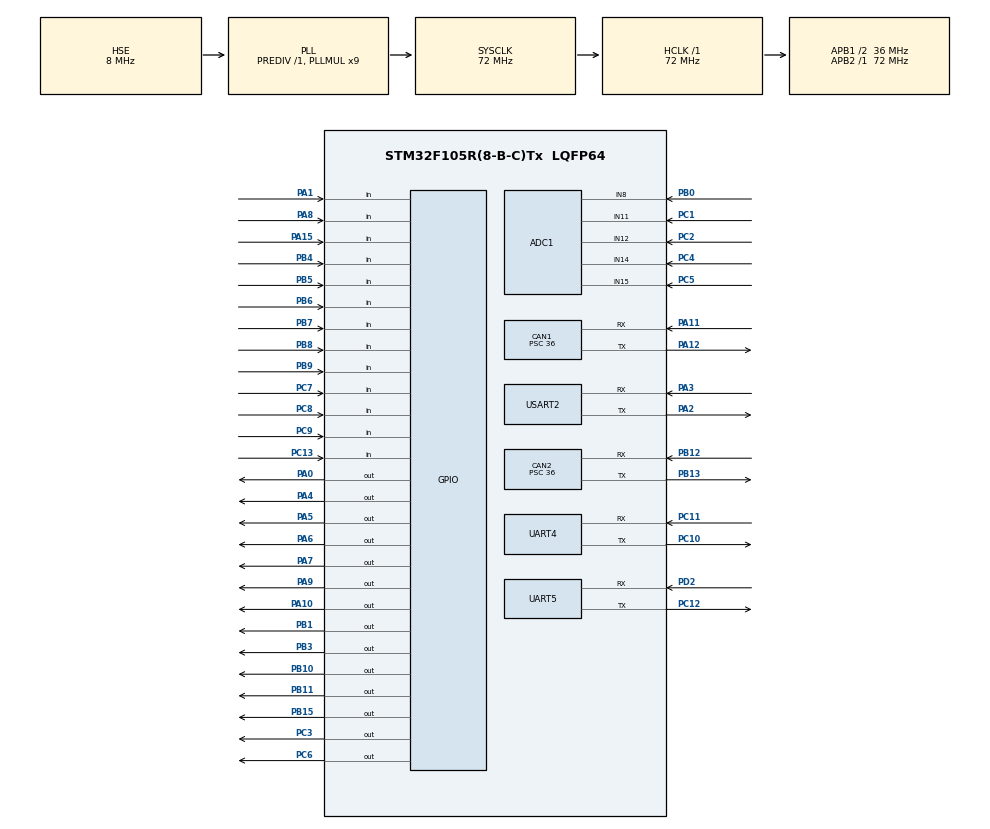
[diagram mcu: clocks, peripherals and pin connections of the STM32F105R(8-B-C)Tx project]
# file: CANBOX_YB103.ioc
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ADC1.Channel-0\#ChannelRegularConversion=ADC_CHANNEL_8
ADC1.Channel-1\#ChannelRegularConversion=ADC_CHANNEL_14
ADC1.Channel-2\#ChannelRegularConversion=ADC_CHANNEL_15
ADC1.Channel-3\#ChannelRegularConversion=ADC_CHANNEL_11
ADC1.Channel-4\#ChannelRegularConversion=ADC_CHANNEL_12
ADC1.ContinuousConvMode=DISABLE
ADC1.DiscontinuousConvMode=ENABLE
ADC1.NbrOfConversion=5
ADC1.NbrOfConversionFlag=1
ADC1.Rank-0\#ChannelRegularConversion=1
ADC1.Rank-1\#ChannelRegularConversion=2
ADC1.Rank-2\#ChannelRegularConversion=3
ADC1.Rank-3\#ChannelRegularConversion=4
ADC1.Rank-4\#ChannelRegularConversion=5
ADC1.SamplingTime-0\#ChannelRegularConversion=ADC_SAMPLETIME_1CYCLE_5
ADC1.SamplingTime-1\#ChannelRegularConversion=ADC_SAMPLETIME_1CYCLE_5
ADC1.SamplingTime-2\#ChannelRegularConversion=ADC_SAMPLETIME_1CYCLE_5
ADC1.SamplingTime-3\#ChannelRegularConversion=ADC_SAMPLETIME_1CYCLE_5
ADC1.SamplingTime-4\#ChannelRegularConversion=ADC_SAMPLETIME_1CYCLE_5
ADC1.master=1
CAN1.ABOM=ENABLE
CAN1.BS1=CAN_BS1_3TQ
CAN1.BS2=CAN_BS2_4TQ
CAN1.CalculateBaudRate=125000
CAN1.CalculateTimeBit=8000
CAN1.CalculateTimeQuantum=1000.0
CAN1.Prescaler=36
CAN2.ABOM=ENABLE
CAN2.BS1=CAN_BS1_3TQ
CAN2.BS2=CAN_BS2_4TQ
CAN2.CalculateBaudRate=125000
CAN2.CalculateTimeBit=8000
CAN2.CalculateTimeQuantum=1000.0
CAN2.Prescaler=36
Dma.MEMTOMEM.0.Direction=DMA_MEMORY_TO_MEMORY
Dma.MEMTOMEM.0.Instance=DMA2_Channel1
Dma.MEMTOMEM.0.MemDataAlignment=DMA_MDATAALIGN_BYTE
Dma.MEMTOMEM.0.MemInc=DMA_MINC_ENABLE
Dma.MEMTOMEM.0.Mode=DMA_NORMAL
Dma.MEMTOMEM.0.PeriphDataAlignment=DMA_PDATAALIGN_BYTE
Dma.MEMTOMEM.0.PeriphInc=DMA_PINC_ENABLE
Dma.MEMTOMEM.0.Priority=DMA_PRIORITY_LOW
Dma.Request0=MEMTOMEM
Dma.Request1=UART4_RX
Dma.Request2=UART4_TX
Dma.UART4_RX.1.Direction=DMA_PERIPH_TO_MEMORY
Dma.UART4_RX.1.Instance=DMA2_Channel3
Dma.UART4_RX.1.MemDataAlignment=DMA_MDATAALIGN_BYTE
Dma.UART4_RX.1.MemInc=DMA_MINC_ENABLE
Dma.UART4_RX.1.Mode=DMA_NORMAL
Dma.UART4_RX.1.PeriphDataAlignment=DMA_PDATAALIGN_BYTE
Dma.UART4_RX.1.PeriphInc=DMA_PINC_DISABLE
Dma.UART4_RX.1.Priority=DMA_PRIORITY_MEDIUM
Dma.UART4_TX.2.Direction=DMA_MEMORY_TO_PERIPH
Dma.UART4_TX.2.Instance=DMA2_Channel5
Dma.UART4_TX.2.MemDataAlignment=DMA_MDATAALIGN_BYTE
Dma.UART4_TX.2.MemInc=DMA_MINC_ENABLE
Dma.UART4_TX.2.Mode=DMA_NORMAL
Dma.UART4_TX.2.PeriphDataAlignment=DMA_PDATAALIGN_BYTE
Dma.UART4_TX.2.PeriphInc=DMA_PINC_DISABLE
Dma.UART4_TX.2.Priority=DMA_PRIORITY_MEDIUM
FREERTOS.Tasks01=defaultTask,0,128,StartDefaultTask,Default,NULL,Dynamic,NULL,NULL
FREERTOS.configCHECK_FOR_STACK_OVERFLOW=1
FREERTOS.configTOTAL_HEAP_SIZE=10240
FREERTOS.configUSE_MALLOC_FAILED_HOOK=1
FREERTOS.configUSE_STATS_FORMATTING_FUNCTIONS=1
FREERTOS.configUSE_TICK_HOOK=1
FREERTOS.configUSE_TRACE_FACILITY=1
Mcu.Family=STM32F1
Mcu.Name=STM32F105R(8-B-C)Tx
Mcu.Package=LQFP64
NVIC.CAN1_RX0_IRQn=true\:5\:0\:true\:false\:true\:true\:true\:true\:true
NVIC.CAN2_RX0_IRQn=true\:5\:0\:true\:false\:true\:true\:true\:true\:true
NVIC.DMA2_Channel3_IRQn=true\:5\:0\:false\:false\:true\:true\:false\:true\:true
NVIC.DMA2_Channel5_IRQn=true\:5\:0\:false\:false\:true\:true\:false\:true\:true
NVIC.PriorityGroup=NVIC_PRIORITYGROUP_4
NVIC.UART4_IRQn=true\:5\:0\:false\:false\:true\:true\:true\:true\:true
PA0-WKUP.GPIO_PuPd=GPIO_PULLUP
PA0-WKUP.GPIO_Speed=GPIO_SPEED_FREQ_HIGH
PA0-WKUP.PinState=GPIO_PIN_SET
PA0-WKUP.Signal=GPIO_Output
PA1.GPIO_PuPd=GPIO_PULLUP
PA1.Signal=GPIO_Input
PA10.GPIO_PuPd=GPIO_PULLUP
PA10.GPIO_Speed=GPIO_SPEED_FREQ_HIGH
PA10.Signal=GPIO_Output
PA11.Mode=CAN_Activate
PA11.Signal=CAN1_RX
PA12.Mode=CAN_Activate
PA12.Signal=CAN1_TX
PA15.GPIO_PuPd=GPIO_PULLUP
PA15.Signal=GPIO_Input
PA2.Mode=LIN
PA2.Signal=USART2_TX
PA3.Mode=LIN
PA3.Signal=USART2_RX
PA4.GPIO_PuPd=GPIO_PULLUP
PA4.GPIO_Speed=GPIO_SPEED_FREQ_HIGH
PA4.PinState=GPIO_PIN_SET
PA4.Signal=GPIO_Output
PA5.GPIO_PuPd=GPIO_PULLUP
PA5.GPIO_Speed=GPIO_SPEED_FREQ_HIGH
PA5.PinState=GPIO_PIN_SET
PA5.Signal=GPIO_Output
PA6.GPIO_PuPd=GPIO_PULLUP
PA6.GPIO_Speed=GPIO_SPEED_FREQ_HIGH
PA6.PinState=GPIO_PIN_SET
PA6.Signal=GPIO_Output
PA7.GPIO_PuPd=GPIO_PULLUP
PA7.GPIO_Speed=GPIO_SPEED_FREQ_HIGH
PA7.PinState=GPIO_PIN_SET
PA7.Signal=GPIO_Output
PA8.GPIO_PuPd=GPIO_PULLUP
PA8.Signal=GPIO_Input
PA9.GPIO_PuPd=GPIO_PULLUP
PA9.GPIO_Speed=GPIO_SPEED_FREQ_HIGH
PA9.Signal=GPIO_Output
PB0.Signal=ADCx_IN8
PB1.GPIO_PuPd=GPIO_PULLUP
PB1.GPIO_Speed=GPIO_SPEED_FREQ_HIGH
PB1.Signal=GPIO_Output
PB10.GPIO_PuPd=GPIO_PULLUP
PB10.GPIO_Speed=GPIO_SPEED_FREQ_HIGH
PB10.PinState=GPIO_PIN_SET
PB10.Signal=GPIO_Output
PB11.GPIO_PuPd=GPIO_PULLUP
PB11.GPIO_Speed=GPIO_SPEED_FREQ_HIGH
PB11.PinState=GPIO_PIN_SET
PB11.Signal=GPIO_Output
PB12.Mode=CAN_Activate
PB12.Signal=CAN2_RX
PB13.Mode=CAN_Activate
PB13.Signal=CAN2_TX
PB15.GPIO_PuPd=GPIO_PULLUP
PB15.GPIO_Speed=GPIO_SPEED_FREQ_HIGH
PB15.PinState=GPIO_PIN_SET
PB15.Signal=GPIO_Output
PB3.GPIO_PuPd=GPIO_PULLUP
PB3.GPIO_Speed=GPIO_SPEED_FREQ_HIGH
PB3.Signal=GPIO_Output
PB4.GPIO_PuPd=GPIO_PULLUP
PB4.Signal=GPIO_Input
PB5.GPIO_PuPd=GPIO_PULLUP
PB5.Signal=GPIO_Input
PB6.GPIO_PuPd=GPIO_PULLUP
PB6.Signal=GPIO_Input
PB7.GPIO_PuPd=GPIO_PULLUP
PB7.Signal=GPIO_Input
PB8.GPIO_PuPd=GPIO_PULLUP
PB8.Signal=GPIO_Input
PB9.GPIO_PuPd=GPIO_PULLUP
PB9.Signal=GPIO_Input
PC1.Signal=ADCx_IN11
PC10.Mode=Asynchronous
PC10.Signal=UART4_TX
PC11.Mode=Asynchronous
PC11.Signal=UART4_RX
PC12.Mode=Asynchronous
PC12.Signal=UART5_TX
PC13-TAMPER-RTC.GPIO_PuPd=GPIO_PULLUP
PC13-TAMPER-RTC.Signal=GPIO_Input
PC2.Signal=ADCx_IN12
PC3.GPIO_PuPd=GPIO_PULLUP
PC3.GPIO_Speed=GPIO_SPEED_FREQ_HIGH
PC3.PinState=GPIO_PIN_SET
PC3.Signal=GPIO_Output
PC4.Signal=ADCx_IN14
PC5.Signal=ADCx_IN15
PC6.GPIO_PuPd=GPIO_PULLUP
PC6.GPIO_Speed=GPIO_SPEED_FREQ_HIGH
PC6.PinState=GPIO_PIN_SET
PC6.Signal=GPIO_Output
PC7.GPIO_PuPd=GPIO_PULLUP
PC7.Signal=GPIO_Input
PC8.GPIO_PuPd=GPIO_PULLUP
PC8.Signal=GPIO_Input
PC9.GPIO_PuPd=GPIO_PULLUP
PC9.Signal=GPIO_Input
PD0-OSC_IN.Mode=HSE-External-Oscillator
PD0-OSC_IN.Signal=RCC_OSC_IN
PD1-OSC_OUT.Mode=HSE-External-Oscillator
PD1-OSC_OUT.Signal=RCC_OSC_OUT
PD2.Mode=Asynchronous
PD2.Signal=UART5_RX
ProjectManager.HeapSize=0x200
ProjectManager.StackSize=0x400
ProjectManager.TargetToolchain=STM32CubeIDE
RCC.ADCPresc=RCC_ADCPCLK2_DIV6
RCC.AHBFreq_Value=72000000
RCC.APB1CLKDivider=RCC_HCLK_DIV2
RCC.APB1Freq_Value=36000000
RCC.APB1TimFreq_Value=72000000
RCC.APB2Freq_Value=72000000
RCC.APB2TimFreq_Value=72000000
RCC.HCLKFreq_Value=72000000
RCC.PLLMUL=RCC_PLL_MUL9
RCC.PLLSourceVirtual=RCC_PLLSOURCE_HSE
RCC.SYSCLKFreq_VALUE=72000000
RCC.SYSCLKSource=RCC_SYSCLKSOURCE_PLLCLK
RCC.USBFreq_Value=48000000
SH.ADCx_IN11.0=ADC1_IN11,IN11
SH.ADCx_IN12.0=ADC1_IN12,IN12
SH.ADCx_IN14.0=ADC1_IN14,IN14
SH.ADCx_IN15.0=ADC1_IN15,IN15
SH.ADCx_IN8.0=ADC1_IN8,IN8
UART4.VirtualMode=Asynchronous
UART5.VirtualMode=Asynchronous
USART2.VirtualMode=VM_ASYNC
VP_FREERTOS_VS_CMSIS_V1.Mode=CMSIS_V1
VP_SYS_VS_ND.Mode=No_Debug
board=custom

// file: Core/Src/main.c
/* USER CODE BEGIN Header */
/**
  ******************************************************************************
  * @file           : main.c
  * @brief          : Main program body
  ******************************************************************************
  * @attention
  *
  * Copyright (c) 2025 STMicroelectronics.
  * All rights reserved.
  *
  * This software is licensed under terms that can be found in the LICENSE file
  * in the root directory of this software component.
  * If no LICENSE file comes with this software, it is provided AS-IS.
  *
  ******************************************************************************
  */
/* USER CODE END Header */
#include "main.h"
#include "cmsis_os.h"
#include "adc.h"
#include "can.h"
#include "dma.h"
#include "usart.h"
#include "gpio.h"

/* USER CODE BEGIN Includes */
#include "dbc_can_core.h"
#include "stdio.h"
#include "lcd.h"
#include "Service_CanComm_ccl.h"
/* USER CODE END Includes */

void SystemClock_Config(void);
void MX_FREERTOS_Init(void);

/* USER CODE BEGIN 0 */
#define PUTCHAR_PROTOTYPE int __io_putchar(int ch)

PUTCHAR_PROTOTYPE
{
    HAL_UART_Transmit(&huart4 , (uint8_t *)&ch, 1, 0xFFFF);
    return ch;
}

uint8_t  usart4_rx_buffer_data[256];
/* USER CODE END 0 */

int main(void)
{

  /* MCU Configuration--------------------------------------------------------*/

  /* Reset of all peripherals, Initializes the Flash interface and the Systick. */
  HAL_Init();

  /* Configure the system clock */
  SystemClock_Config();

  /* Initialize all configured peripherals */
  MX_GPIO_Init();
  MX_DMA_Init();
  MX_ADC1_Init();
  MX_CAN1_Init();
  MX_CAN2_Init();
  MX_UART4_Init();
  MX_UART5_Init();
  MX_USART2_UART_Init();
  /* USER CODE BEGIN 2 */

  App_Init(); //DBC CAN
  lcd128_Init(); //LCD
  __HAL_UART_ENABLE_IT(&huart4, UART_IT_IDLE); //ʹ��IDLE�ж�
  HAL_UART_Receive_DMA(&huart4, usart4_rx_buffer_data, 256);
  printf("Enter\r\n");
  CanCcl_vPoweronInit(); //CAN

  /* USER CODE END 2 */

  /* Call init function for freertos objects (in cmsis_os2.c) */
  MX_FREERTOS_Init();

  /* Start scheduler */
  osKernelStart();

  /* We should never get here as control is now taken by the scheduler */

  /* Infinite loop */
  while (1)
  {

  }
}

void SystemClock_Config(void)
{
  RCC_OscInitTypeDef RCC_OscInitStruct = {0};
  RCC_ClkInitTypeDef RCC_ClkInitStruct = {0};
  RCC_PeriphCLKInitTypeDef PeriphClkInit = {0};

  /** Initializes the RCC Oscillators according to the specified parameters
  * in the RCC_OscInitTypeDef structure.
  */
  RCC_OscInitStruct.OscillatorType = RCC_OSCILLATORTYPE_HSE;
  RCC_OscInitStruct.HSEState = RCC_HSE_ON;
  RCC_OscInitStruct.HSEPredivValue = RCC_HSE_PREDIV_DIV1;
  RCC_OscInitStruct.HSIState = RCC_HSI_ON;
  RCC_OscInitStruct.Prediv1Source = RCC_PREDIV1_SOURCE_HSE;
  RCC_OscInitStruct.PLL.PLLState = RCC_PLL_ON;
  RCC_OscInitStruct.PLL.PLLSource = RCC_PLLSOURCE_HSE;
  RCC_OscInitStruct.PLL.PLLMUL = RCC_PLL_MUL9;
  RCC_OscInitStruct.PLL2.PLL2State = RCC_PLL_NONE;
  if (HAL_RCC_OscConfig(&RCC_OscInitStruct) != HAL_OK)
  {
    Error_Handler();
  }

  /** Initializes the CPU, AHB and APB buses clocks
  */
  RCC_ClkInitStruct.ClockType = RCC_CLOCKTYPE_HCLK|RCC_CLOCKTYPE_SYSCLK
                              |RCC_CLOCKTYPE_PCLK1|RCC_CLOCKTYPE_PCLK2;
  RCC_ClkInitStruct.SYSCLKSource = RCC_SYSCLKSOURCE_PLLCLK;
  RCC_ClkInitStruct.AHBCLKDivider = RCC_SYSCLK_DIV1;
  RCC_ClkInitStruct.APB1CLKDivider = RCC_HCLK_DIV2;
  RCC_ClkInitStruct.APB2CLKDivider = RCC_HCLK_DIV1;

  if (HAL_RCC_ClockConfig(&RCC_ClkInitStruct, FLASH_LATENCY_2) != HAL_OK)
  {
    Error_Handler();
  }
  PeriphClkInit.PeriphClockSelection = RCC_PERIPHCLK_ADC;
  PeriphClkInit.AdcClockSelection = RCC_ADCPCLK2_DIV6;
  if (HAL_RCCEx_PeriphCLKConfig(&PeriphClkInit) != HAL_OK)
  {
    Error_Handler();
  }

  /** Configure the Systick interrupt time
  */
  __HAL_RCC_PLLI2S_ENABLE();
}

void Error_Handler(void)
{
  __disable_irq();
  while (1)
  {
  }
}

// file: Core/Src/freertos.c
/* USER CODE BEGIN Header */
/**
  ******************************************************************************
  * File Name          : freertos.c
  * Description        : Code for freertos applications
  ******************************************************************************
  * @attention
  *
  * Copyright (c) 2025 STMicroelectronics.
  * All rights reserved.
  *
  * This software is licensed under terms that can be found in the LICENSE file
  * in the root directory of this software component.
  * If no LICENSE file comes with this software, it is provided AS-IS.
  *
  ******************************************************************************
  */
/* USER CODE END Header */

#include "FreeRTOS.h"
#include "task.h"
#include "main.h"
#include "cmsis_os.h"

/* USER CODE BEGIN Includes */
#include "usart.h"
#include "UserTimer.h"
#include "can.h"
#include "adc_app.h"
// #include "key_app.h"
#include "key.h"
#include "lcd.h"
#include "config.h"
#include "dbc_can_core.h"
/* USER CODE END Includes */

/* USER CODE BEGIN Variables */
osThreadId canreceivefunctionHandle;
osThreadId heartbeattaskHandle;
osThreadId task0Handle;
osThreadId task1Handle;
osThreadId task2Handle;
osThreadId task3Handle;
osThreadId CanTransmitHandle;
osThreadId LinTransmitHandle;

/* USER CODE END Variables */
osThreadId defaultTaskHandle;

/* USER CODE BEGIN FunctionPrototypes */
void CanReceiveFunction(void const * argument);
void heartbeat_task(void const * argument);
void task0_task(void const * argument);
void task1_task(void const * argument);
void task2_task(void const * argument);
void task3_task(void const * argument);
void Lin_Flow_task(void const *pvParameters);
/* USER CODE END FunctionPrototypes */

void StartDefaultTask(void const * argument);

void MX_FREERTOS_Init(void); /* (MISRA C 2004 rule 8.1) */

/* GetIdleTaskMemory prototype (linked to static allocation support) */
void vApplicationGetIdleTaskMemory( StaticTask_t **ppxIdleTaskTCBBuffer, StackType_t **ppxIdleTaskStackBuffer, uint32_t *pulIdleTaskStackSize );

/* Hook prototypes */
void vApplicationTickHook(void);
void vApplicationStackOverflowHook(xTaskHandle xTask, signed char *pcTaskName);
void vApplicationMallocFailedHook(void);

/* USER CODE BEGIN 3 */
__weak void vApplicationTickHook( void )
{
   /* This function will be called by each tick interrupt if
   configUSE_TICK_HOOK is set to 1 in FreeRTOSConfig.h. User code can be
   added here, but the tick hook is called from an interrupt context, so
   code must not attempt to block, and only the interrupt safe FreeRTOS API
   functions can be used (those that end in FromISR()). */
}
/* USER CODE END 3 */

/* USER CODE BEGIN 4 */
__weak void vApplicationStackOverflowHook(xTaskHandle xTask, signed char *pcTaskName)
{
   /* Run time stack overflow checking is performed if
   configCHECK_FOR_STACK_OVERFLOW is defined to 1 or 2. This hook function is
   called if a stack overflow is detected. */
}
/* USER CODE END 4 */

/* USER CODE BEGIN 5 */
__weak void vApplicationMallocFailedHook(void)
{
   /* vApplicationMallocFailedHook() will only be called if
   configUSE_MALLOC_FAILED_HOOK is set to 1 in FreeRTOSConfig.h. It is a hook
   function that will get called if a call to pvPortMalloc() fails.
   pvPortMalloc() is called internally by the kernel whenever a task, queue,
   timer or semaphore is created. It is also called by various parts of the
   demo application. If heap_1.c or heap_2.c are used, then the size of the
   heap available to pvPortMalloc() is defined by configTOTAL_HEAP_SIZE in
   FreeRTOSConfig.h, and the xPortGetFreeHeapSize() API function can be used
   to query the size of free heap space that remains (although it does not
   provide information on how the remaining heap might be fragmented). */
}
/* USER CODE END 5 */

/* USER CODE BEGIN GET_IDLE_TASK_MEMORY */
static StaticTask_t xIdleTaskTCBBuffer;
static StackType_t xIdleStack[configMINIMAL_STACK_SIZE];

void vApplicationGetIdleTaskMemory( StaticTask_t **ppxIdleTaskTCBBuffer, StackType_t **ppxIdleTaskStackBuffer, uint32_t *pulIdleTaskStackSize )
{
  *ppxIdleTaskTCBBuffer = &xIdleTaskTCBBuffer;
  *ppxIdleTaskStackBuffer = &xIdleStack[0];
  *pulIdleTaskStackSize = configMINIMAL_STACK_SIZE;
  /* place for user code */
}
/* USER CODE END GET_IDLE_TASK_MEMORY */

void MX_FREERTOS_Init(void) {

  /* Create the thread(s) */
  /* definition and creation of defaultTask */
  osThreadDef(defaultTask, StartDefaultTask, osPriorityNormal, 0, 128);
  defaultTaskHandle = osThreadCreate(osThread(defaultTask), NULL);

  /* USER CODE BEGIN RTOS_THREADS */
  /* add threads, ... */
  osThreadDef(heartbeattask, heartbeat_task, osPriorityIdle, 0, 128);
  heartbeattaskHandle = osThreadCreate(osThread(heartbeattask), NULL);

  osThreadDef(task0task, task0_task, osPriorityIdle, 0, 128);
  task0Handle = osThreadCreate(osThread(task0task), NULL);

  osThreadDef(task1task, task1_task, osPriorityIdle, 0, 128);
  task1Handle = osThreadCreate(osThread(task1task), NULL);

  osThreadDef(task2task, task2_task, osPriorityIdle, 0, 128);
  task2Handle = osThreadCreate(osThread(task2task), NULL);

  osThreadDef(task3task, task3_task, osPriorityIdle, 0, 128);
  task3Handle = osThreadCreate(osThread(task3task), NULL);

  osThreadDef(cantransmittask, CanTransmitFunction, osPriorityIdle, 0, 128);
  CanTransmitHandle = osThreadCreate(osThread(cantransmittask), NULL);

  #if SPS250_LIN
  osThreadDef(lintransmittask, Lin_Flow_task, osPriorityIdle, 0, 128);
  LinTransmitHandle = osThreadCreate(osThread(lintransmittask), NULL);
  #endif
  /* USER CODE END RTOS_THREADS */

}

void StartDefaultTask(void const * argument)
{
  /* USER CODE BEGIN StartDefaultTask */
  /* Infinite loop */
  for(;;)
  {
    osDelay(1000);
  }
  /* USER CODE END StartDefaultTask */
}

/* USER CODE BEGIN Application */
void heartbeat_task(void const * argument)
{
  /* USER CODE BEGIN heartbeat_task */
    UserTimer_Initial();
    printf("heartbeat_task\r\n");
  /* Infinite loop */
  for(;;)
  {
      UserTimer_Handler();
  }
  /* USER CODE END heartbeat_task */
}

/* USER CODE BEGIN Header_can_task */
/**
* @brief Function implementing the cantask thread.
* @param argument: Not used
* @retval None
*/
/* USER CODE END Header_can_task */
void task0_task(void const * argument)
{
    (void)*argument;
    for(;;)
    {
        vTaskDelay(pdMS_TO_TICKS(1));
    }
}

/* USER CODE BEGIN Header_gpio_task */
/**
* @brief Function implementing the gpiotask thread.
* @param argument: Not used
* @retval None
*/
/* USER CODE END Header_gpio_task */
void task1_task(void const * argument)
{
    (void)*argument;
    for(;;)
    {
			//printf("task1\r\n");
        ADC_SamplingProcess();
        vTaskDelay(pdMS_TO_TICKS(5));
    }
}

/* USER CODE BEGIN Header_button_task */
/**
* @brief Function implementing the buttontask thread.
* @param argument: Not used
* @retval None
*/
/* USER CODE END Header_button_task */
void task2_task(void const * argument)
{
    (void)*argument;
    static uint8_t cnt;
    static uint8_t LeftTurnLightSts_last = 0;
    static uint8_t LeftTurnLightSts_now = 1;
    uint8_t Hz125_flag = 0;
    for(;;)
    {
//    	cnt++;
//    	if(GetF14Value(BCM_LeftTurnLightSts) == 1){
//    		Hz125_flag = 1;
//    	}
//    	else{
//    		Hz125_flag = 0;
//    	}
//
//    	if(Hz125_flag == 1 && cnt >= 80){
//    		LeftTurnLightSts_now = LeftTurnLightSts_last == 0 ? 1 : 0;
//    		LeftTurnLightSts_last = LeftTurnLightSts_now;
//    	    CanTx_SigSet_0x360_BCM_LeftTurnLightSts(LeftTurnLightSts_now);
//    	    CanIl_SendEventMsg(CanMsg_BCM_1);
//    	    cnt = 0;
//    	    Hz125_flag = 0;
//    	}
//    	else if(Hz125_flag == 0 && cnt >= 10){
//    		CanTx_SigSet_0x360_BCM_LeftTurnLightSts(GetF14Value(BCM_LeftTurnLightSts));
//    		CanIl_SendEventMsg(CanMsg_BCM_1);
//    		cnt = 0;
//    		Hz125_flag = 0;
//    	}

        Key_CheckProcess();
        if(now_page == 0){
			if (key_menu_cnt != GetPage0MenuIndex() ||
				key_item_cnt != GetPage0ItemIndex() ||
				key_value_cnt != GetPage0ItemValue(GetPage0MenuIndex(), GetPage0ItemIndex(), 0)) {
				SavePage0ItemValue(key_menu_cnt,key_item_cnt,key_value_cnt);
			}
        }
        else{
			if (key_menu_cnt != GetPage1MenuIndex() ||
				key_item_cnt != GetPage1ItemIndex() ||
				key_value_cnt != GetPage1ItemValue(GetPage1MenuIndex(), GetPage1ItemIndex(), 0)) {
				SavePage1ItemValue(key_menu_cnt,key_item_cnt,key_value_cnt);
			}
        }
        vTaskDelay(pdMS_TO_TICKS(10));
    }
}

/* USER CODE BEGIN Header_menu_task */
/**
* @brief Function implementing the menutask thread.
* @param argument: Not used
* @retval None
*/
/* USER CODE END Header_menu_task */
extern uint8_t Can_Send_Sts;

void task3_task(void const * argument)
{
    (void)*argument;
    static uint8_t s_menu = MENU_UNDEFINE;
    static uint8_t s_item = ITEM_DEFAULT;
    static uint16_t s_value = VALUE_DEFAULT;
    static uint8_t Last_CAN_SendSts = E_CANSEND_OPEN;
    uint8_t v_menu = 0;
    uint8_t v_item = 0;
    int16_t v_value = 0;
    for(;;)
    {
		//printf("task3\r\n");
    	if(now_page == 0){
            v_menu = GetPage0MenuIndex();
            v_item = GetPage0ItemIndex();
            v_value = GetPage0ItemValue(v_menu, v_item, 0);
    	}
    	else{
    		v_menu = GetPage1MenuIndex();
            v_item = GetPage1ItemIndex();
            v_value = GetPage1ItemValue(v_menu, v_item, 0);
    	}

        if(Can_Send_Sts == E_CANSEND_OPEN)
        {
            if(Last_CAN_SendSts != Can_Send_Sts)
            {
                Last_CAN_SendSts = Can_Send_Sts;
            }
            if (v_menu != s_menu || v_item != s_item || v_value != s_value || switch_flag == 1) {
            	if(now_page == 0){
                	if (LCD_Page0Menu_Display(v_menu, v_item, v_value) == DISPLAY_SUCCESS) {
                        s_menu = v_menu;
                        s_item = v_item;
                        s_value = v_value;
                    }
            	}
            	else{
                	if (LCD_Page1Menu_Display(v_menu, v_item, v_value) == DISPLAY_SUCCESS) {
                        s_menu = v_menu;
                        s_item = v_item;
                        s_value = v_value;
                    }
            	}
            	switch_flag = 0;
            }
        }
        else
        {
            if(Last_CAN_SendSts != Can_Send_Sts)
            {
                Last_CAN_SendSts = Can_Send_Sts;
                LCD_Show_CANSendClose();
                s_menu = 0xFF;
                s_item = 0xFF;
                s_value = 0xFFFF;
            }
        }

        vTaskDelay(pdMS_TO_TICKS(20));
    }
}

/* Private application code --------------------------------------------------*/
/* USER CODE BEGIN Application */
QueueHandle_t ReceiveQueue;

void CanReceiveFunction(void const * argument)
{
    CanMsg_t RxMessageObject;

    ReceiveQueue = xQueueCreate(4,sizeof(CanMsg_t));
    if(ReceiveQueue == NULL)
    {
        printf("receive function create xQueue failed.\r\n");
        while(1);
    }
    printf("CanReceiveFunction\r\n");
    for(;;)
    {
        if(pdTRUE == xQueueReceive(ReceiveQueue,&RxMessageObject,0)){
        }
//    	printf("\r\nid:0x%x\r\ndata:0x",RxMessageObject.MsgID);
//    	for(i = 0;i<RxMessageObject.MsgLen;++i)
//    	{
//    		printf("%x ",RxMessageObject.Msg[i]);
//    	}
//    	printf("\r\n");
    }

}
/* USER CODE END Application */
